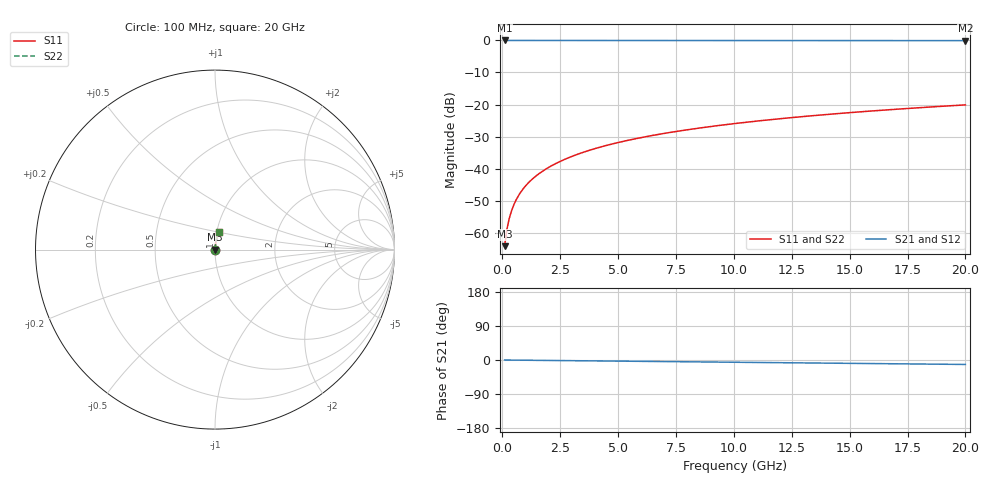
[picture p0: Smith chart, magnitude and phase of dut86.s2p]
! Touchstone file exported from HFSS 2026.1.0
!  File:  C:/ffzhzh/LocalFiles/Ansys_Project_Files/temp_train_TSV_86_1782959586_45568.aedt
!  Generated:  10:35:05 AM Jul  2, 2026
!  Design:  TSV
!  Project:  temp_train_TSV_86_1782959586_45568
! Variables:
!  h_bsmrdl = 2um
!  h_ox = 20um
!  h_rdl = 5um
!  h_sub = 99.94um
!  h_tmrdl = 5um
!  h_tsv = 99.94um
!  h_via = 3um
!  l_bsmrdl = 300um
!  l_sub = 413.5um
!  l_tmrdl = 200um
!  m_sub = 200um
!  pitch = 59.19um
!  r_tsv = 6.75um
!  s_tmrdl = 10um
!  w_bsmrdl = 18um
!  w_sub = 500um
!  w_tmrdl = 12um
!  x_tsv_center1 = 206um
!  x_tsv_center2 = 524um
!  x_tsv_center3 = 736um
!  x_tsv_center4 = 1054um
!  x_tsv_center5 = 1266um
!  x_tsv_center6 = 1584um
# GHz S MA R 50.000000
! Terminal data exported
! Port[1] = TSV1_1_T1
! Port[2] = TSV1_1_T2
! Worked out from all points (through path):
!   200 points, 100 MHz to 20 GHz, reference 50 ohm
!   highest |S21| = 0.00 dB at 100 MHz (marker M1); lowest = -0.1 dB at 20 GHz (marker M2)
!   group delay of S21, straight-line fit = 1.63 ps
!   lowest |S11| = -64.2 dB at 100 MHz (marker M3), VSWR 1.00, Z = 50 + j0.0548 ohm
!   |S11| at or under -10 dB: start of sweep to end of sweep
!   |S22| runs from -64.2 to -20.1 dB; largest |S21 - S12| = 2.1e-15
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0.1  0.0006169 62.7  0.9997 -0.1  0.9997 -0.1  0.0006169 62.7
! Gamma 0 0 0 0
! Port Impedance 50 0 50 0
0.2  0.001133 74.9  0.9997 -0.1  0.9997 -0.1  0.001133 74.9
0.3  0.001667 79.2  0.9997 -0.2  0.9997 -0.2  0.001667 79.2
0.4  0.002203 81.2  0.9997 -0.2  0.9997 -0.2  0.002203 81.2
0.5  0.002736 82.4  0.9996 -0.3  0.9996 -0.3  0.002736 82.4
0.6  0.003266 83.1  0.9996 -0.4  0.9996 -0.4  0.003266 83.1
0.7  0.003792 83.6  0.9996 -0.4  0.9996 -0.4  0.003792 83.6
0.8  0.004315 83.9  0.9996 -0.5  0.9996 -0.5  0.004315 83.9
1  0.005351 84.4  0.9995 -0.6  0.9995 -0.6  0.005351 84.4
1.4  0.007399 84.9  0.9994 -0.8  0.9994 -0.8  0.007399 84.9
1.7  0.008925 85.1  0.9993 -1.0  0.9993 -1.0  0.008925 85.1
2  0.01045 85.2  0.9993 -1.2  0.9993 -1.2  0.01045 85.2
2.7  0.01398 85.3  0.9991 -1.6  0.9991 -1.6  0.01398 85.3
3.5  0.01802 85.2  0.999 -2.1  0.999 -2.1  0.01802 85.2
4.2  0.02153 85.0  0.9988 -2.5  0.9988 -2.5  0.02153 85.0
5  0.02554 84.8  0.9987 -3.0  0.9987 -3.0  0.02554 84.8
6.8  0.0345 84.0  0.9982 -4.0  0.9982 -4.0  0.0345 84.0
8.3  0.04193 83.3  0.9978 -4.9  0.9978 -4.9  0.04193 83.3
10.1  0.05081 82.4  0.9973 -6.0  0.9973 -6.0  0.05081 82.4
13.4  0.06697 80.7  0.9961 -7.9  0.9961 -7.9  0.06697 80.7
16.7  0.08298 78.9  0.9947 -9.8  0.9947 -9.8  0.08298 78.9
20  0.09879 77.1  0.9931 -11.7  0.9931 -11.7  0.09879 77.1
